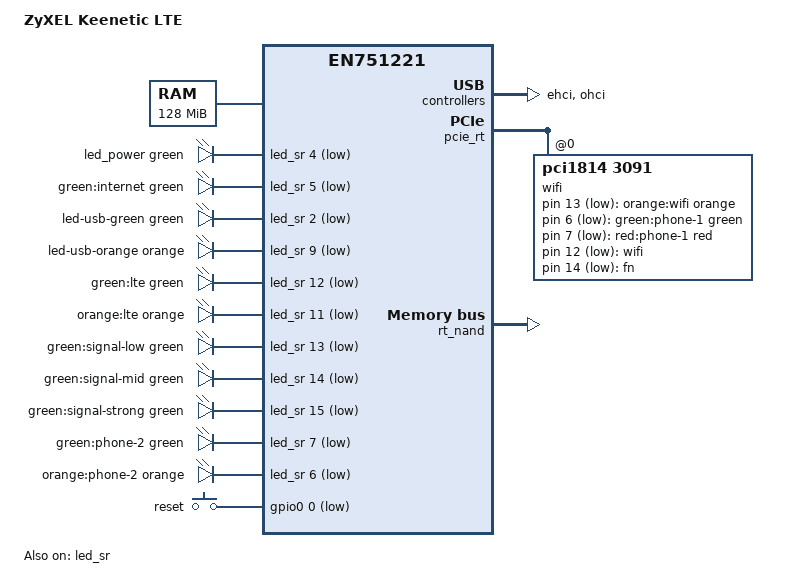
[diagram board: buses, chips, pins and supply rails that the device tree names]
// SPDX-License-Identifier: GPL-2.0-or-later
/dts-v1/;

#include "rt63368.dtsi"

#include <dt-bindings/gpio/gpio.h>
#include <dt-bindings/input/input.h>
#include <dt-bindings/leds/common.h>

/ {
	model = "ZyXEL Keenetic LTE";
	compatible = "zyxel,keenetic-lte", "econet,rt63368", "econet,en751221";

	aliases {
		led-boot = &led_power;
		led-failsafe = &led_power;
		led-running = &led_power;
		led-upgrade = &led_power;
	};

	memory@0 {
		device_type = "memory";
		reg = <0x00000000 0x8000000>;
	};

	chosen {
		/* U-Boot passes no command line. */
		bootargs = "console=ttyS0,57600";
		stdout-path = "/serial@1fbf0000:57600";
		linux,usable-memory-range = <0x00020000 0x7fe0000>;
	};

	/*
	 * Shift-register LEDs, named after the case labels (the PCB silkscreen
	 * differs: case POWER is PCB "USB", INTERNET is "LTE", USB is
	 * "PHONE2", LTE is "PHONE1", PHONE2 is "POWER", signal low/mid/strong
	 * are "SIGNAL 3/2/1"). Lines 0, 1, 3, 8 and 10 are not connected.
	 */
	leds {
		compatible = "gpio-leds";

		led_power: led-power {
			color = <LED_COLOR_ID_GREEN>;
			function = LED_FUNCTION_POWER;
			gpios = <&led_sr 4 GPIO_ACTIVE_LOW>;
		};

		led-internet {
			color = <LED_COLOR_ID_GREEN>;
			label = "green:internet";
			gpios = <&led_sr 5 GPIO_ACTIVE_LOW>;
		};

		led-usb-green {
			color = <LED_COLOR_ID_GREEN>;
			function = LED_FUNCTION_USB;
			gpios = <&led_sr 2 GPIO_ACTIVE_LOW>;
		};

		led-usb-orange {
			color = <LED_COLOR_ID_ORANGE>;
			function = LED_FUNCTION_USB;
			gpios = <&led_sr 9 GPIO_ACTIVE_LOW>;
		};

		led-lte-green {
			color = <LED_COLOR_ID_GREEN>;
			label = "green:lte";
			gpios = <&led_sr 12 GPIO_ACTIVE_LOW>;
		};

		led-lte-orange {
			color = <LED_COLOR_ID_ORANGE>;
			label = "orange:lte";
			gpios = <&led_sr 11 GPIO_ACTIVE_LOW>;
		};

		led-signal-low {
			color = <LED_COLOR_ID_GREEN>;
			label = "green:signal-low";
			gpios = <&led_sr 13 GPIO_ACTIVE_LOW>;
		};

		led-signal-mid {
			color = <LED_COLOR_ID_GREEN>;
			label = "green:signal-mid";
			gpios = <&led_sr 14 GPIO_ACTIVE_LOW>;
		};

		led-signal-strong {
			color = <LED_COLOR_ID_GREEN>;
			label = "green:signal-strong";
			gpios = <&led_sr 15 GPIO_ACTIVE_LOW>;
		};

		led-phone-2-green {
			color = <LED_COLOR_ID_GREEN>;
			label = "green:phone-2";
			gpios = <&led_sr 7 GPIO_ACTIVE_LOW>;
		};

		led-phone-2-orange {
			color = <LED_COLOR_ID_ORANGE>;
			label = "orange:phone-2";
			gpios = <&led_sr 6 GPIO_ACTIVE_LOW>;
		};
	};

	/*
	 * LEDs on RT5392 GPIOs: case Wi-Fi (PCB "WIFI 2.4G") and the bicolour
	 * case PHONE1 (PCB "INTERNET"). A separate node, so that the
	 * shift-register LEDs (boot/failsafe LED) do not wait for the WLAN
	 * driver.
	 */
	leds-wlan {
		compatible = "gpio-leds";

		led-wifi {
			color = <LED_COLOR_ID_ORANGE>;
			label = "orange:wifi";
			gpios = <&wifi 13 GPIO_ACTIVE_LOW>;
		};

		led-phone-1-green {
			color = <LED_COLOR_ID_GREEN>;
			label = "green:phone-1";
			gpios = <&wifi 6 GPIO_ACTIVE_LOW>;
		};

		led-phone-1-red {
			color = <LED_COLOR_ID_RED>;
			label = "red:phone-1";
			gpios = <&wifi 7 GPIO_ACTIVE_LOW>;
		};
	};

	/*
	 * RESET is on SoC gpio0 (U-Boot leaves its output enable set; it reads
	 * the button once switched to input), WLAN ("wifi" on the case) and FN
	 * on RT5392 GPIO12/GPIO14. No interrupts, hence polled.
	 */
	keys {
		compatible = "gpio-keys-polled";
		poll-interval = <20>;

		button-reset {
			label = "reset";
			gpios = <&gpio0 0 GPIO_ACTIVE_LOW>;
			linux,code = <KEY_RESTART>;
		};

		button-wifi {
			label = "wifi";
			gpios = <&wifi 12 GPIO_ACTIVE_LOW>;
			linux,code = <KEY_RFKILL>;
		};

		button-fn {
			label = "fn";
			gpios = <&wifi 14 GPIO_ACTIVE_LOW>;
			linux,code = <BTN_0>;
		};
	};
};

&ehci {
	status = "okay";
};

&ohci {
	status = "okay";
};

&ethernet {
	nvmem-cells = <&macaddr_lan>;
	nvmem-cell-names = "mac-address";
};

&led_sr {
	status = "okay";
};

&pcie_rt {
	status = "okay";

	pcie@0,0 {
		reg = <0x0000 0 0 0 0>;
		device_type = "pci";
		#address-cells = <3>;
		#size-cells = <2>;
		ranges;

		wifi: wifi@0,0 {
			compatible = "pci1814,3091";
			reg = <0x0000 0 0 0 0>;
			nvmem-cells = <&eeprom_wifi>;
			nvmem-cell-names = "eeprom";
			ralink,eeprom-big-endian;
			/* GPIO_CTRL pins 0-15, used for the WLAN/FN buttons and LEDs. */
			gpio-controller;
			#gpio-cells = <2>;
		};
	};
};

/*
 * Spansion S34ML01G1 (128 MiB, 2K pages). U-Boot uses the vendor BMT (last
 * 81 good blocks), the en75_bmt format; partition offsets are logical.
 * U-Boot boots the kernel partition (option 3: bootm 0xB0060000).
 */
&rt_nand {
	status = "okay";

	econet,bmt;
	econet,assert-reserve-size = <81>;

	partitions {
		compatible = "fixed-partitions";
		#address-cells = <1>;
		#size-cells = <1>;

		partition@0 {
			label = "u-boot";
			reg = <0x0000000 0x0020000>;
			read-only;
		};

		partition@20000 {
			label = "u-config";
			reg = <0x0020000 0x0020000>;
			read-only;
		};

		partition@40000 {
			label = "rf-eeprom";
			reg = <0x0040000 0x0020000>;
			read-only;

			nvmem-layout {
				compatible = "fixed-layout";
				#address-cells = <1>;
				#size-cells = <1>;

				eeprom_wifi: eeprom@0 {
					reg = <0x0 0x200>;
				};

				macaddr_lan: macaddr@28 {
					reg = <0x28 0x6>;
				};
			};
		};

		partition@60000 {
			label = "kernel";
			reg = <0x0060000 0x0400000>;
		};

		partition@460000 {
			label = "ubi";
			reg = <0x0460000 0x1940000>;
		};

		partition@1da0000 {
			label = "config";
			reg = <0x1da0000 0x0020000>;
			read-only;
		};

		partition@1dc0000 {
			label = "storage";
			reg = <0x1dc0000 0x0200000>;
			read-only;
		};

		partition@1fc0000 {
			label = "dump";
			reg = <0x1fc0000 0x0040000>;
			read-only;
		};
	};
};

/*
 * eth0 (PDMA) -> internal switch port 6 -> internal port 5 (RGMII) ->
 * external MT7530 port 6 -> MT7530 ports 0-4 = the five jacks. The MT7530
 * sits at MDIO address 31 on the internal switch MDIO master registered by
 * the Ethernet driver.
 */
&switch0 {
	/delete-property/ mediatek,mcm;
	/delete-property/ reset-names;

	ports {
		port@0 {
			status = "okay";
			label = "lan4";
		};

		port@1 {
			status = "okay";
			label = "lan3";
		};

		port@2 {
			status = "okay";
			label = "lan2";
		};

		port@3 {
			status = "okay";
			label = "lan1";
		};

		port@4 {
			reg = <4>;
			label = "wan";
		};

		port@6 {
			ethernet = <&ethernet>;
			phy-mode = "rgmii";
		};
	};
};
